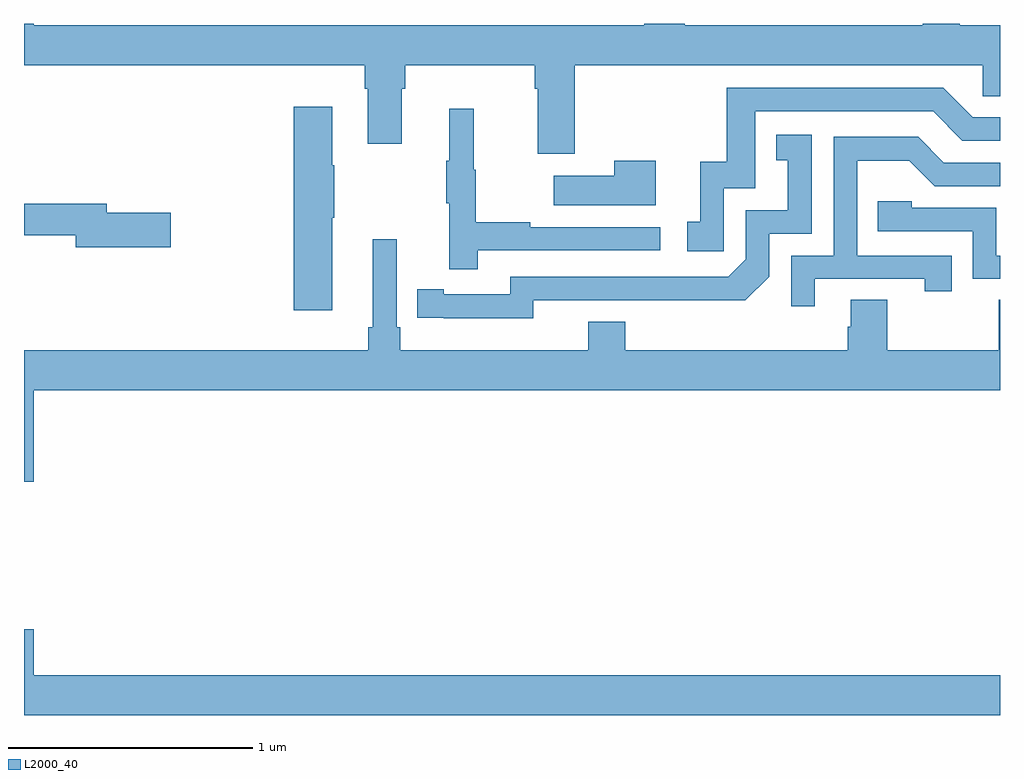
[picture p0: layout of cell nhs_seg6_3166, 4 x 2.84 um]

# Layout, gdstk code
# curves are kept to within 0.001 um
import gdstk
lib = gdstk.Library(unit=1e-6, precision=1e-09)
def P(c, l, *ps):  # polygons
    for p in ps: c.add(gdstk.Polygon(p, *l))
L2000_40 = (2000, 40)

nhs_seg6_3166 = lib.new_cell('nhs_seg6_3166')
P(nhs_seg6_3166, L2000_40, [(300.93,955.201),(301,955.201),(301,955.492),(300.835,955.492),(300.835,955.5),(300.683,955.5),(300.683,955.492),(299.708,955.492),(299.708,955.5),(299.543,955.5),(299.543,955.492),(297.04,955.492),(297.04,955.5),(297,955.5),(297,955.328),(298.397,955.328),(298.397,955.232),(298.409,955.232),(298.409,955.008),(298.549,955.008),(298.549,955.232),(298.562,955.232),(298.562,955.328),(299.093,955.328),(299.093,955.232),(299.105,955.232),(299.105,954.966),(299.258,954.966),(299.258,955.328),(300.93,955.328)],
  [(299.868,954.825),(299.997,954.825),(299.997,955.14),(300.726,955.14),(300.846,955.02),(301,955.02),(301,955.116),(300.888,955.116),(300.768,955.236),(299.881,955.236),(299.881,954.934),(299.771,954.934),(299.771,954.687),(299.718,954.687),(299.718,954.567),(299.868,954.567)],
  [(298.264,954.703),(298.272,954.703),(298.272,954.92),(298.264,954.92),(298.264,955.159),(298.106,955.159),(298.106,954.324),(298.264,954.324)],
  [(298.859,954.57),(299.608,954.57),(299.608,954.666),(299.075,954.666),(299.075,954.686),(298.852,954.686),(298.852,954.9),(298.844,954.9),(298.844,955.15),(298.742,955.15),(298.742,954.937),(298.731,954.937),(298.731,954.763),(298.742,954.763),(298.742,954.492),(298.859,954.492)],
  [(299.088,954.366),(299.956,954.365),(300.054,954.462),(300.054,954.639),(300.228,954.639),(300.228,955.045),(300.082,955.045),(300.082,954.939),(300.131,954.939),(300.131,954.735),(299.958,954.735),(299.958,954.534),(299.886,954.462),(298.992,954.462),(298.992,954.39),(298.72,954.39),(298.72,954.41),(298.612,954.41),(298.612,954.294),(299.088,954.293)],
  [(300.241,954.453),(300.692,954.453),(300.692,954.402),(300.803,954.402),(300.803,954.549),(300.414,954.549),(300.414,954.938),(300.628,954.938),(300.732,954.834),(301,954.834),(301,954.93),(300.769,954.93),(300.664,955.035),(300.318,955.035),(300.318,954.549),(300.144,954.549),(300.144,954.342),(300.241,954.342)],
  [(299.59,954.937),(299.42,954.937),(299.42,954.877),(299.171,954.877),(299.171,954.755),(299.59,954.755)],
  [(301,954.549),(300.984,954.549),(300.984,954.744),(300.639,954.744),(300.639,954.771),(300.499,954.771),(300.499,954.648),(300.888,954.648),(300.888,954.453),(301,954.453)],
  [(297.601,954.725),(297.34,954.725),(297.34,954.761),(297,954.761),(297,954.633),(297.212,954.633),(297.212,954.583),(297.601,954.583)],
  [(297.04,953.996),(301,953.996),(301,954.368),(300.994,954.368),(300.994,954.16),(300.537,954.16),(300.537,954.368),(300.389,954.368),(300.389,954.258),(300.377,954.258),(300.377,954.16),(299.465,954.16),(299.465,954.277),(299.312,954.277),(299.312,954.16),(298.541,954.16),(298.541,954.256),(298.527,954.256),(298.527,954.616),(298.43,954.616),(298.43,954.256),(298.411,954.256),(298.411,954.16),(297,954.16),(297,953.622),(297.04,953.622)],
  [(301,952.828),(297.04,952.828),(297.04,953.017),(297,953.017),(297,952.664),(301,952.664)])

lib.write_gds('nhs_seg6_3166.gds')
